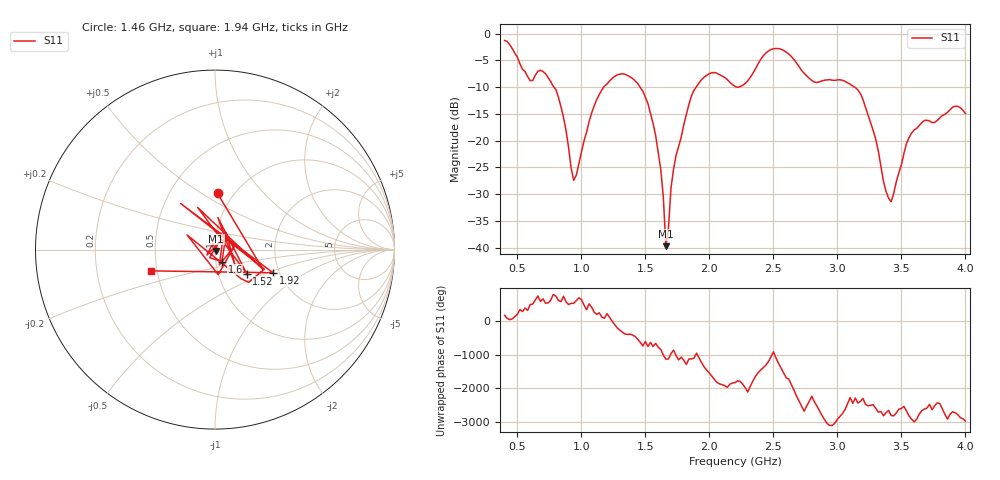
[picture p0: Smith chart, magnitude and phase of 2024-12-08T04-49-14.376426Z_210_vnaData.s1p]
!Created with skrf (http://scikit-rf.org).
# Hz S RI R 50.0
!freq ReS11 ImS11
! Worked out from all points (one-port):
!   181 points, 400 MHz to 4 GHz, reference 50 ohm
!   lowest |S11| = -39.7 dB at 1.66 GHz (marker M1), VSWR 1.02, Z = 50.6 - j0.822 ohm
!   |S11| at or under -10 dB: 784.8 MHz to 1.175 GHz (389.8 MHz wide, 39.8 % of centre); 1.458 GHz to 1.897 GHz (439 MHz wide, 26.2 % of centre); 3.134 GHz to end of sweep (the widest 3 of 4)
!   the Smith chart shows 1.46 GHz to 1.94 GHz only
!   S11 on the Smith chart (normalised r, x): 1.46 GHz: 0.84, +0.58; 1.52 GHz: 1.37, -0.38; 1.6 GHz: 1.07, -0.14; 1.92 GHz: 1.85, -0.54; 1.94 GHz: 0.47, -0.13
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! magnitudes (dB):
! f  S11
! 400 MHz  -1.3
! 600 MHz  -8.8
! 720 MHz  -7.5
! 860 MHz  -15.6
! 940 MHz  -27.4
! 1.12 GHz  -12.3
! 1.3 GHz  -7.6
! 1.46 GHz  -10.1
! 1.52 GHz  -13.1
! 1.6 GHz  -22.2
! 1.64 GHz  -30.5
! 1.66 GHz  -39.7
! 1.68 GHz  -36.5
! 1.7 GHz  -28.8
! 1.76 GHz  -21.1
! 1.86 GHz  -11.6
! 1.92 GHz  -9.2
! 1.94 GHz  -8.6
! 2.2 GHz  -9.9
! 2.48 GHz  -3.0
! 2.66 GHz  -4.8
! 2.82 GHz  -9.1
! 3.1 GHz  -9.5
! 3.2 GHz  -12.3
! 3.42 GHz  -31.4
! 3.56 GHz  -19.4
! 3.9 GHz  -13.8
! 4 GHz  -14.9
